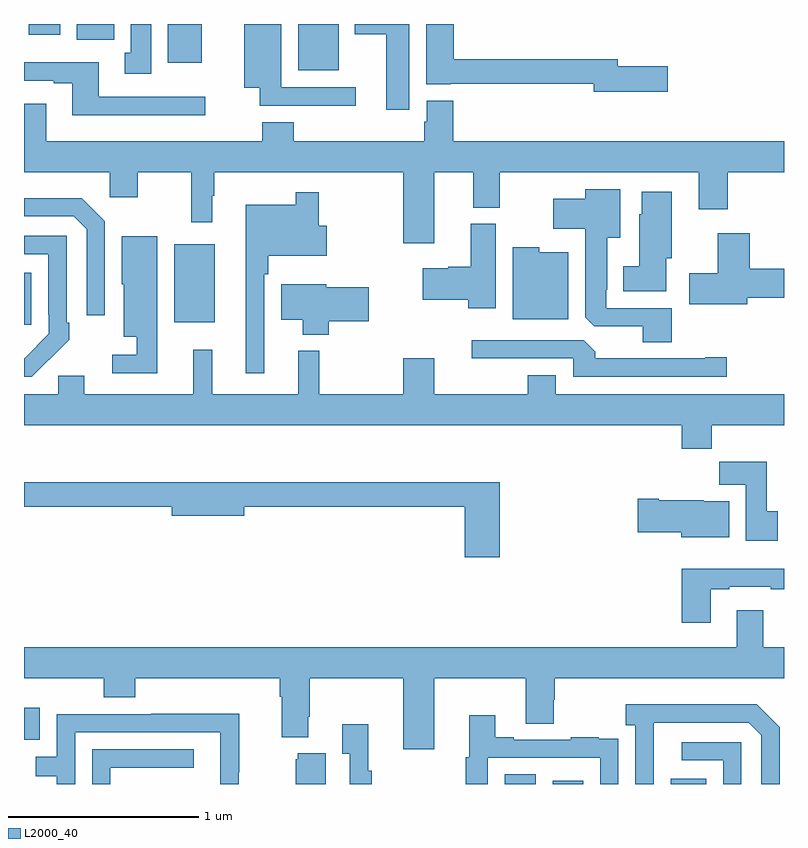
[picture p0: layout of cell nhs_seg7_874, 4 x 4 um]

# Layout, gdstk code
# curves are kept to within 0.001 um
import gdstk
lib = gdstk.Library(unit=1e-6, precision=1e-09)
def R(c, l, rs):  # rectangles x0, y0, x1, y1
    for r in rs: c.add(gdstk.rectangle(r[:2], r[2:], *l))
def P(c, l, *ps):  # polygons
    for p in ps: c.add(gdstk.Polygon(p, *l))
L2000_40 = (2000, 40)

nhs_seg7_874 = lib.new_cell('nhs_seg7_874')
R(nhs_seg7_874, L2000_40, [(177.53,1060,177.694,1060.052), (177.782,1060,177.943,1060.018), (178.403,1060,178.591,1060.027), (175,1060.233,175.083,1060.402), (175,1062.417,175.039,1062.691), (175.79,1062.431,176.005,1062.841), (176.444,1063.757,176.656,1064), (175.757,1063.796,175.936,1064), (175.277,1063.916,175.474,1064), (175.025,1063.944,175.192,1064)])
P(nhs_seg7_874, L2000_40, [(177.028,1064),(176.741,1064),(176.741,1063.946),(176.906,1063.946),(176.906,1063.548),(177.028,1063.548)],
  [(178.387,1063.778),(178.126,1063.778),(178.126,1063.814),(177.263,1063.814),(177.263,1064),(177.116,1064),(177.116,1063.682),(177.246,1063.682),(177.246,1063.686),(177.998,1063.686),(177.998,1063.643),(178.387,1063.643)],
  [(175.669,1064),(175.562,1064),(175.562,1063.85),(175.529,1063.85),(175.529,1063.737),(175.669,1063.737)],
  [(176.746,1063.668),(176.353,1063.668),(176.353,1064),(176.159,1064),(176.159,1063.664),(176.24,1063.664),(176.24,1063.571),(176.746,1063.571)],
  [(175.954,1063.617),(175.393,1063.617),(175.393,1063.798),(175,1063.798),(175,1063.701),(175.157,1063.701),(175.157,1063.689),(175.253,1063.689),(175.253,1063.52),(175.954,1063.52)],
  [(177.16,1063.22),(177.365,1063.22),(177.365,1063.033),(177.505,1063.033),(177.505,1063.22),(178.55,1063.22),(178.55,1063.026),(178.703,1063.026),(178.703,1063.22),(179,1063.22),(179,1063.384),(177.26,1063.384),(177.26,1063.597),(177.119,1063.597),(177.119,1063.485),(177.107,1063.485),(177.107,1063.384),(176.42,1063.384),(176.42,1063.483),(176.255,1063.483),(176.255,1063.384),(175.117,1063.384),(175.117,1063.579),(175,1063.579),(175,1063.22),(175.452,1063.22),(175.452,1063.089),(175.599,1063.089),(175.599,1063.22),(175.881,1063.22),(175.881,1062.957),(175.99,1062.957),(175.99,1063.097),(176.002,1063.097),(176.002,1063.22),(176.996,1063.22),(176.996,1062.846),(177.16,1062.846)],
  [(178.409,1062.504),(178.065,1062.504),(178.065,1062.601),(178.069,1062.601),(178.069,1062.875),(178.138,1062.875),(178.138,1063.129),(177.953,1063.129),(177.953,1063.081),(177.786,1063.081),(177.786,1062.923),(177.953,1062.923),(177.953,1062.457),(178.002,1062.408),(178.256,1062.408),(178.256,1062.325),(178.409,1062.325)],
  [(178.381,1062.768),(178.408,1062.768),(178.408,1063.117),(178.25,1063.117),(178.25,1062.999),(178.238,1062.999),(178.238,1062.724),(178.154,1062.724),(178.154,1062.593),(178.381,1062.593)],
  [(176.265,1062.683),(176.285,1062.683),(176.285,1062.779),(176.593,1062.779),(176.593,1062.937),(176.551,1062.937),(176.551,1063.114),(176.43,1063.114),(176.43,1063.048),(176.168,1063.048),(176.168,1062.162),(176.265,1062.162)],
  [(175.425,1062.963),(175.304,1063.084),(175,1063.084),(175,1062.987),(175.263,1062.987),(175.329,1062.921),(175.329,1062.468),(175.425,1062.468)],
  [(177.484,1062.948),(177.35,1062.948),(177.35,1062.723),(177.233,1062.723),(177.233,1062.715),(177.099,1062.715),(177.099,1062.55),(177.338,1062.55),(177.338,1062.504),(177.484,1062.504)],
  [(178.807,1062.56),(179,1062.56),(179,1062.712),(178.82,1062.712),(178.82,1062.898),(178.652,1062.898),(178.652,1062.687),(178.5,1062.687),(178.5,1062.524),(178.807,1062.524)],
  [(175.133,1062.235),(175.134,1062.234),(175.239,1062.339),(175.239,1062.427),(175.224,1062.427),(175.224,1062.885),(175,1062.885),(175,1062.789),(175.128,1062.789),(175.128,1062.469),(175.131,1062.469),(175.131,1062.369),(175.003,1062.241),(175,1062.241),(175,1062.144),(175.042,1062.144)],
  [(175.701,1062.435),(175.702,1062.435),(175.702,1062.883),(175.514,1062.883),(175.514,1062.63),(175.526,1062.63),(175.526,1062.353),(175.593,1062.353),(175.593,1062.258),(175.464,1062.258),(175.464,1062.162),(175.701,1062.162)],
  [(177.865,1062.799),(177.711,1062.799),(177.711,1062.826),(177.572,1062.826),(177.572,1062.446),(177.865,1062.446)],
  [(176.603,1062.436),(176.815,1062.436),(176.815,1062.614),(176.59,1062.614),(176.59,1062.631),(176.354,1062.631),(176.354,1062.443),(176.468,1062.443),(176.468,1062.365),(176.603,1062.365)],
  [(178.699,1062.245),(178.586,1062.245),(178.586,1062.24),(178.007,1062.24),(178.007,1062.274),(177.945,1062.336),(177.357,1062.336),(177.357,1062.24),(177.891,1062.24),(177.891,1062.144),(178.699,1062.144)],
  [(178.619,1061.888),(179,1061.888),(179,1062.052),(177.799,1062.052),(177.799,1062.151),(177.652,1062.151),(177.652,1062.052),(177.16,1062.052),(177.16,1062.241),(176.996,1062.241),(176.996,1062.052),(176.554,1062.052),(176.554,1062.28),(176.444,1062.28),(176.444,1062.052),(175.991,1062.052),(175.991,1062.286),(175.892,1062.286),(175.892,1062.052),(175.318,1062.052),(175.318,1062.15),(175.179,1062.15),(175.179,1062.052),(175,1062.052),(175,1061.888),(178.463,1061.888),(178.463,1061.764),(178.619,1061.764)],
  [(178.966,1061.436),(178.909,1061.436),(178.909,1061.695),(178.66,1061.695),(178.66,1061.576),(178.799,1061.576),(178.799,1061.28),(178.966,1061.28)],
  [(177.503,1061.587),(175,1061.587),(175,1061.458),(175.778,1061.458),(175.778,1061.411),(176.158,1061.411),(176.158,1061.458),(177.32,1061.458),(177.32,1061.193),(177.503,1061.193)],
  [(178.711,1061.488),(178.578,1061.488),(178.578,1061.494),(178.342,1061.494),(178.342,1061.502),(178.23,1061.502),(178.23,1061.324),(178.46,1061.324),(178.46,1061.3),(178.711,1061.3)],
  [(178.615,1061.025),(178.711,1061.025),(178.711,1061.037),(178.931,1061.037),(178.931,1061.025),(179,1061.025),(179,1061.134),(178.463,1061.134),(178.463,1060.848),(178.615,1060.848)],
  [(177.16,1060.556),(177.641,1060.556),(177.641,1060.318),(177.789,1060.318),(177.789,1060.443),(177.794,1060.443),(177.794,1060.556),(179,1060.556),(179,1060.72),(178.891,1060.72),(178.891,1060.915),(178.751,1060.915),(178.751,1060.72),(175,1060.72),(175,1060.556),(175.421,1060.556),(175.421,1060.457),(175.586,1060.457),(175.586,1060.556),(176.345,1060.556),(176.345,1060.46),(176.357,1060.46),(176.357,1060.247),(176.497,1060.247),(176.497,1060.354),(176.505,1060.354),(176.505,1060.556),(176.996,1060.556),(176.996,1060.182),(177.16,1060.182)],
  [(178.314,1060.123),(178.315,1060.323),(178.815,1060.323),(178.881,1060.257),(178.881,1060),(178.977,1060),(178.977,1060.299),(178.856,1060.42),(178.167,1060.42),(178.167,1060.31),(178.218,1060.31),(178.218,1060),(178.314,1060)],
  [(175.269,1060.272),(176.033,1060.272),(176.033,1060.018),(176.034,1060.018),(176.034,1060),(176.13,1060),(176.13,1060.063),(176.133,1060.063),(176.133,1060.37),(175.669,1060.37),(175.669,1060.368),(175.173,1060.368),(175.173,1060.143),(175.063,1060.143),(175.063,1060.042),(175.173,1060.042),(175.173,1060),(175.269,1060)],
  [(177.441,1060.137),(178.032,1060.137),(178.032,1060),(178.128,1060),(178.128,1060.13),(178.127,1060.13),(178.127,1060.239),(178.025,1060.239),(178.025,1060.246),(177.877,1060.246),(177.877,1060.233),(177.577,1060.233),(177.577,1060.246),(177.481,1060.246),(177.481,1060.363),(177.344,1060.363),(177.344,1060.14),(177.325,1060.14),(177.325,1060),(177.441,1060)],
  [(176.831,1060.07),(176.813,1060.07),(176.813,1060.315),(176.675,1060.315),(176.675,1060.159),(176.715,1060.159),(176.715,1060),(176.831,1060)],
  [(178.776,1060.221),(178.461,1060.221),(178.461,1060.125),(178.68,1060.125),(178.68,1060),(178.776,1060)],
  [(175.455,1060.086),(175.894,1060.086),(175.894,1060.182),(175.359,1060.182),(175.359,1060),(175.455,1060)],
  [(176.587,1060.162),(176.441,1060.162),(176.441,1060.131),(176.429,1060.131),(176.429,1060),(176.587,1060)])

lib.write_gds('nhs_seg7_874.gds')
